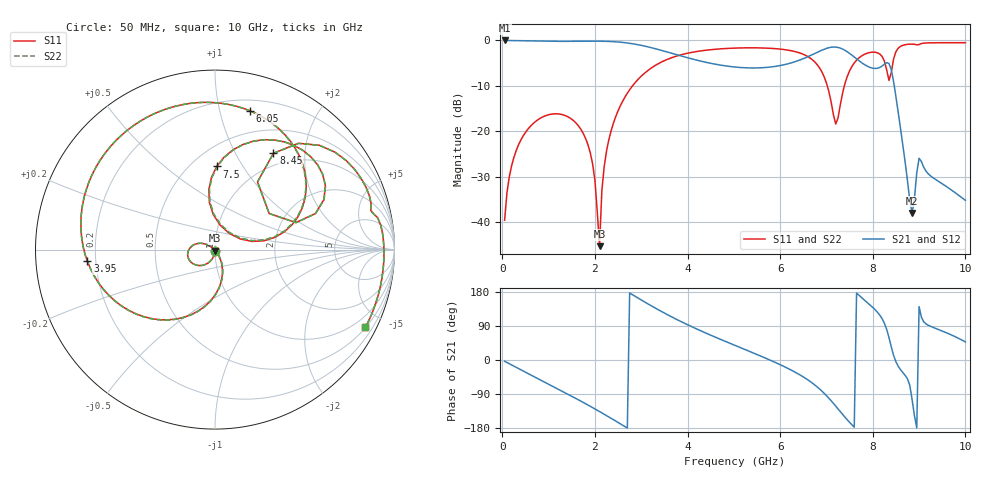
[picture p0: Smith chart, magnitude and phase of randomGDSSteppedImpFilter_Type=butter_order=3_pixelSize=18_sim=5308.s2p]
! freq	dB(S11)	phase(S11)	dB(S12)	phase(S12)
!  dB(S21)	phase(S21)	dB(S22)	phase(S22)
!S-par simulation data
#  GHz  S  DB  R 50
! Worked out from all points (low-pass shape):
!   200 points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, 50 MHz to 10 GHz, reference 50 ohm
!   highest |S21| = -0.01 dB at 50 MHz (marker M1); lowest = -37.9 dB at 8.85 GHz (marker M2)
!   |S21| within 3 dB of the highest: start of sweep to 3.719 GHz; 6.72 GHz to 7.519 GHz (799 MHz wide, 11.2 % of centre)
!   lowest |S11| = -45.3 dB at 2.1 GHz (marker M3), VSWR 1.01, Z = 50 - j0.545 ohm
!   |S11| at or under -10 dB: start of sweep to 2.812 GHz; 7.017 GHz to 7.387 GHz (369.7 MHz wide, 5.13 % of centre)
!   |S22| runs from -46.8 to -0.5 dB; largest |S21 - S12| = 0
!   S11 on the Smith chart (normalised r, x): 50 MHz: 1.00, -0.02; 3.95 GHz: 0.17, -0.04; 6.05 GHz: 0.29, +1.24; 7.5 GHz: 0.66, +0.77; 8.45 GHz: 0.82, +1.44; 10 GHz: 0.51, -4.04
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0.05  -39.56 -92.8  -0.01 -3.3  -0.01 -3.3  -39.56 -92.8
0.25  -25.75 -106.2  -0.04 -16.2  -0.04 -16.2  -25.75 -106.2
0.6  -18.96 -128.8  -0.11 -38.5  -0.11 -38.5  -18.96 -128.9
1.75  -20.50 158.5  -0.17 -112.1  -0.17 -112.1  -20.50 157.8
2  -30.76 146.2  -0.16 -129.1  -0.16 -129.1  -30.80 143.3
2.1  -45.27 -89.3  -0.17 -136.0  -0.17 -136.0  -46.81 -73.1
2.15  -33.05 -59.5  -0.18 -139.5  -0.18 -139.5  -33.13 -55.2
2.2  -27.78 -59.1  -0.19 -143.1  -0.19 -143.1  -27.80 -56.6
2.4  -18.18 -70.3  -0.27 -157.5  -0.27 -157.5  -18.19 -69.4
3.4  -4.94 -140.7  -2.08 130.5  -2.08 130.5  -4.94 -140.4
3.95  -2.93 -174.8  -3.67 96.0  -3.67 96.0  -2.93 -174.5
5.05  -1.68 127.3  -5.88 37.3  -5.88 37.3  -1.68 127.5
6.05  -1.96 75.9  -5.43 -15.2  -5.43 -15.2  -1.96 76.2
6.7  -4.29 33.6  -3.10 -61.3  -3.10 -61.3  -4.29 34.0
7.2  -18.39 49.0  -1.47 -121.7  -1.47 -121.7  -18.07 49.3
7.5  -6.68 88.8  -2.86 -164.7  -2.86 -164.7  -6.66 88.4
8.1  -2.71 34.9  -6.12 126.2  -6.12 126.2  -2.71 34.8
8.35  -8.81 33.7  -5.07 59.2  -5.07 59.2  -8.81 33.6
8.45  -4.05 58.8  -9.08 12.1  -9.08 12.1  -4.05 58.7
8.85  -0.81 19.3  -37.95 -105.2  -37.95 -105.2  -0.81 19.3
9  -0.91 13.3  -25.93 140.9  -25.93 140.9  -0.92 13.3
10  -0.51 -27.4  -35.19 47.8  -35.19 47.8  -0.51 -27.4
